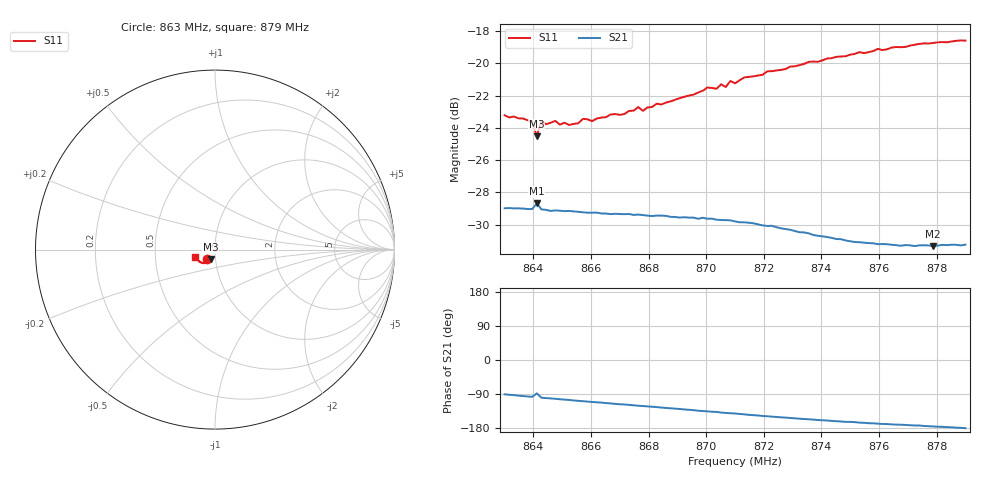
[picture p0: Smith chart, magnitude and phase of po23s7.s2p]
# HZ S RI R 50
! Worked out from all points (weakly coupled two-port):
!   101 points, 863 MHz to 879 MHz, reference 50 ohm
!   highest |S21| = -28.68 dB at 864.12 MHz (marker M1); lowest = -31.3 dB at 877.88 MHz (marker M2)
!   lowest |S11| = -24.5 dB at 864.12 MHz (marker M3), VSWR 1.13, Z = 47.3 - j5.12 ohm
!   |S11| at or under -10 dB: start of sweep to end of sweep
!   S12 and S22 are empty: the file has one direction only
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8.63e8  -0.0442 -0.053  -0.000273 -0.0355  0 0  0 0
8.6396e8  -0.0395 -0.0522  -0.00441 -0.0351  0 0  0 0
8.6412e8  -0.025 -0.0539  0.0012 -0.0368  0 0  0 0
8.6428e8  -0.0378 -0.0545  -0.00588 -0.0347  0 0  0 0
8.6524e8  -0.0348 -0.0541  -0.00931 -0.0336  0 0  0 0
8.6572e8  -0.035 -0.0575  -0.0111 -0.0327  0 0  0 0
8.6604e8  -0.0333 -0.0572  -0.0122 -0.0322  0 0  0 0
8.6716e8  -0.033 -0.0613  -0.0156 -0.0303  0 0  0 0
8.6764e8  -0.0358 -0.0639  -0.0173 -0.0292  0 0  0 0
8.678e8  -0.0344 -0.0623  -0.0177 -0.0288  0 0  0 0
8.6844e8  -0.0362 -0.0651  -0.0196 -0.0274  0 0  0 0
8.7004e8  -0.042 -0.0729  -0.0235 -0.0231  0 0  0 0
8.7036e8  -0.0431 -0.0714  -0.0239 -0.0223  0 0  0 0
8.7052e8  -0.0454 -0.0731  -0.0245 -0.0216  0 0  0 0
8.7068e8  -0.0446 -0.0717  -0.0249 -0.0211  0 0  0 0
8.7084e8  -0.0477 -0.0741  -0.0251 -0.0207  0 0  0 0
8.71e8  -0.0467 -0.073  -0.0252 -0.0203  0 0  0 0
8.7132e8  -0.0503 -0.0751  -0.0258 -0.0192  0 0  0 0
8.7372e8  -0.0679 -0.075  -0.0271 -0.0114  0 0  0 0
8.7644e8  -0.0932 -0.0619  -0.027 -0.00478  0 0  0 0
8.7788e8  -0.1039 -0.0507  -0.027 -0.0022  0 0  0 0
8.79e8  -0.1108 -0.0393  -0.0274 -3.1e-05  0 0  0 0
